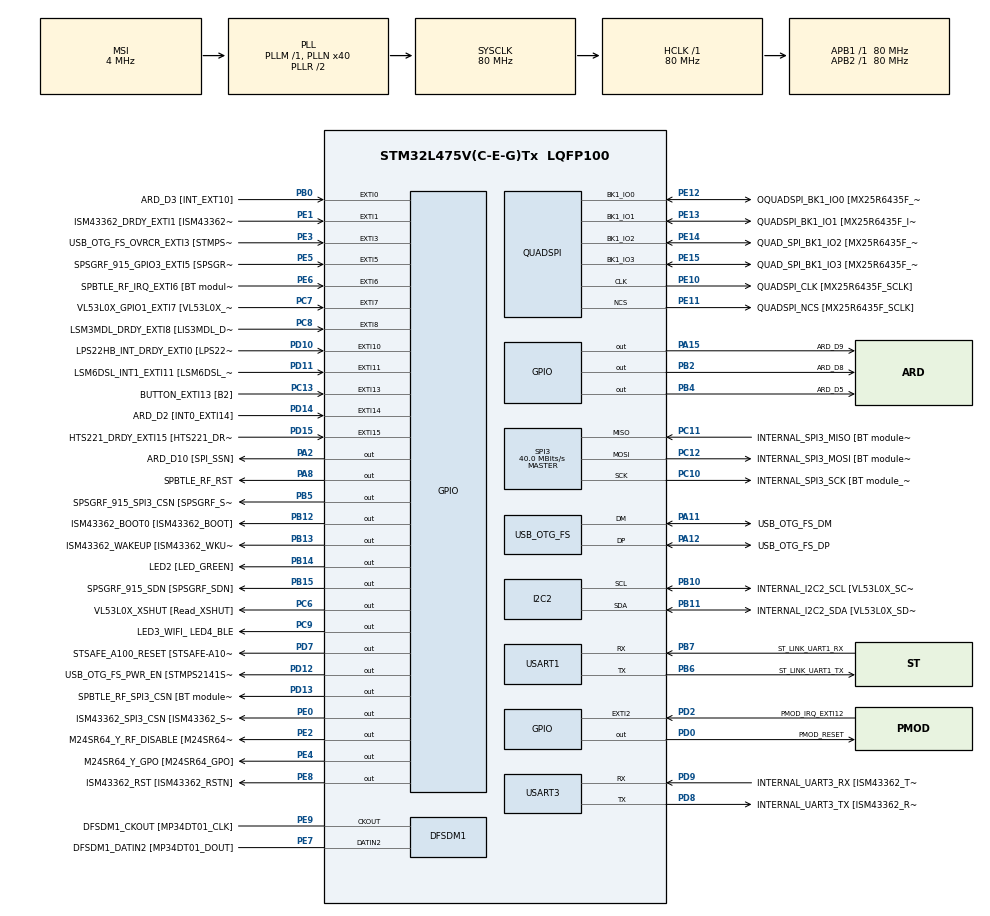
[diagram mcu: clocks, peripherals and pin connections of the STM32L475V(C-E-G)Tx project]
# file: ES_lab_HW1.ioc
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FREERTOS.BinarySemaphores01=BinarySem01,Dynamic,NULL,Depleted;BinarySem02,Dynamic,NULL,Available
FREERTOS.Mutexes01=MutexTask,Dynamic,NULL,Depleted
FREERTOS.Queues01=MessageQueue,1,uint16_t,0,Dynamic,NULL,NULL
FREERTOS.Tasks01=ProcessTask1,24,128,StartProcessTask1,Default,NULL,Dynamic,NULL,NULL;Task1,24,128,StartTask1,Default,NULL,Dynamic,NULL,NULL;Task2,24,128,StartTask2,Default,NULL,Dynamic,NULL,NULL
FREERTOS.Timers01=DefaultTimer,DefaultTimerCallback,osTimerPeriodic,Default,NULL,Dynamic,NULL;ButtonTimer,TimerCallback,osTimerOnce,Default,NULL,Dynamic,NULL
I2C2.Timing=0x10D19CE4
Mcu.Family=STM32L4
Mcu.Name=STM32L475V(C-E-G)Tx
Mcu.Package=LQFP100
NVIC.EXTI15_10_IRQn=true\:5\:0\:false\:false\:true\:true\:true\:true\:true
NVIC.EXTI9_5_IRQn=true\:5\:0\:false\:false\:true\:true\:true\:true\:true
NVIC.PriorityGroup=NVIC_PRIORITYGROUP_4
NVIC.TIM6_DAC_IRQn=true\:5\:0\:false\:false\:true\:true\:true\:true\:true
PA0.GPIO_Label=ARD_D1 [UART4_TX]
PA0.Signal=UART4_TX
PA1.GPIO_Label=ARD_D0 [UART4_RX]
PA1.Signal=UART4_RX
PA10.GPIO_Label=USB_OTG_FS_ID
PA10.Signal=USB_OTG_FS_ID
PA11.GPIO_Label=USB_OTG_FS_DM
PA11.Mode=Device_Only
PA11.Signal=USB_OTG_FS_DM
PA12.GPIO_Label=USB_OTG_FS_DP
PA12.Mode=Device_Only
PA12.Signal=USB_OTG_FS_DP
PA13\ (JTMS-SWDIO).GPIO_Label=SYS_JTMS_SWDIO
PA13\ (JTMS-SWDIO).Mode=Serial_Wire
PA13\ (JTMS-SWDIO).Signal=SYS_JTMS-SWDIO
PA14\ (JTCK-SWCLK).GPIO_Label=SYS_JTCK_SWCLK
PA14\ (JTCK-SWCLK).Mode=Serial_Wire
PA14\ (JTCK-SWCLK).Signal=SYS_JTCK-SWCLK
PA15\ (JTDI).GPIO_Label=ARD_D9
PA15\ (JTDI).Signal=GPIO_Output
PA2.GPIO_Label=ARD_D10 [SPI_SSN]
PA2.Signal=GPIO_Output
PA3.GPIO_Label=ARD_D4
PA3.Signal=S_TIM2_CH4
PA4.GPIO_Label=ARD_D7
PA4.Signal=ADCx_IN9
PA5.GPIO_Label=ARD_D13 [SPI1_SCK]
PA5.Signal=SPI1_SCK
PA6.GPIO_Label=ARD_D12 [SPI1_MISO]
PA6.Signal=SPI1_MISO
PA7.GPIO_Label=ARD_D11 [SPI1_MOSI]
PA7.Signal=SPI1_MOSI
PA8.GPIO_Label=SPBTLE_RF_RST
PA8.Signal=GPIO_Output
PA9.GPIO_Label=USB_OTG_FS_VBUS [STMPS2141STR_OUT]
PA9.Signal=USB_OTG_FS_VBUS
PB0.GPIO_Label=ARD_D3 [INT_EXT10]
PB0.Signal=GPXTI0
PB1.GPIO_Label=ARD_D6 [ADC1_IN6]
PB1.Signal=ADCx_IN16
PB10.GPIO_Label=INTERNAL_I2C2_SCL [VL53L0X_SCL]
PB10.GPIO_Pu=GPIO_PULLUP
PB10.Mode=I2C
PB10.Signal=I2C2_SCL
PB11.GPIO_Label=INTERNAL_I2C2_SDA [VL53L0X_SDA]
PB11.GPIO_Pu=GPIO_PULLUP
PB11.Mode=I2C
PB11.Signal=I2C2_SDA
PB12.GPIO_Label=ISM43362_BOOT0 [ISM43362_BOOT]
PB12.Signal=GPIO_Output
PB13.GPIO_Label=ISM43362_WAKEUP [ISM43362_WKUP]
PB13.Signal=GPIO_Output
PB14.GPIO_Label=LED2 [LED_GREEN]
PB14.Signal=GPIO_Output
PB15.GPIO_Label=SPSGRF_915_SDN [SPSGRF_SDN]
PB15.Signal=GPIO_Output
PB2.GPIO_Label=ARD_D8
PB2.Signal=GPIO_Output
PB3\ (JTDO-TRACESWO).GPIO_Label=SYS_JTD0_SWO
PB3\ (JTDO-TRACESWO).Signal=SYS_JTDO-SWO
PB4\ (NJTRST).GPIO_Label=ARD_D5
PB4\ (NJTRST).Signal=GPIO_Output
PB5.GPIO_Label=SPSGRF_915_SPI3_CSN [SPSGRF_SPI_CS]
PB5.PinState=GPIO_PIN_SET
PB5.Signal=GPIO_Output
PB6.GPIO_Label=ST_LINK_UART1_TX
PB6.Mode=Asynchronous
PB6.Signal=USART1_TX
PB7.GPIO_Label=ST_LINK_UART1_RX
PB7.Mode=Asynchronous
PB7.Signal=USART1_RX
PB8.GPIO_Label=ARD_D15 [I2C1_SCL]
PB8.Signal=I2C1_SCL
PB9.GPIO_Label=ARD_D14 [I2C1_SDA]
PB9.Signal=I2C1_SDA
PC0.GPIO_Label=ARD_A5 [ADC]
PC0.Signal=ADCx_IN1
PC1.GPIO_Label=ARD_A4 [ADC]
PC1.Signal=ADCx_IN2
PC10.GPIO_Label=INTERNAL_SPI3_SCK [BT module_SPI_SCLK] [ISM43362_SCK]
PC10.Mode=Full_Duplex_Master
PC10.Signal=SPI3_SCK
PC11.GPIO_Label=INTERNAL_SPI3_MISO [BT module_SPI_MISO] [ISM43362_MISO]
PC11.Mode=Full_Duplex_Master
PC11.Signal=SPI3_MISO
PC12.GPIO_Label=INTERNAL_SPI3_MOSI [BT module_SPI_MOSI] [ISM43362_MOSI]
PC12.Mode=Full_Duplex_Master
PC12.Signal=SPI3_MOSI
PC13.GPIO_Label=BUTTON_EXTI13 [B2]
PC13.GPIO_ModeDefaultEXTI=GPIO_MODE_IT_RISING_FALLING
PC13.Signal=GPXTI13
PC14-OSC32_IN\ (PC14).Mode=LSE-External-Oscillator
PC14-OSC32_IN\ (PC14).Signal=RCC_OSC32_IN
PC15-OSC32_OUT\ (PC15).Mode=LSE-External-Oscillator
PC15-OSC32_OUT\ (PC15).Signal=RCC_OSC32_OUT
PC2.GPIO_Label=ARD_A3 [ADC]
PC2.Signal=ADCx_IN3
PC3.GPIO_Label=ARD_A2 [ADC]
PC3.Signal=ADCx_IN4
PC4.GPIO_Label=ARD_A1 [ADC]
PC4.Signal=ADCx_IN13
PC5.GPIO_Label=ARD_A0 [ADC]
PC5.Signal=ADCx_IN14
PC6.GPIO_Label=VL53L0X_XSHUT [Read_XSHUT]
PC6.Signal=GPIO_Output
PC7.GPIO_Label=VL53L0X_GPIO1_EXTI7 [VL53L0X_GPIO1]
PC7.Signal=GPXTI7
PC8.GPIO_Label=LSM3MDL_DRDY_EXTI8 [LIS3MDL_DRDY]
PC8.Signal=GPXTI8
PC9.GPIO_Label=LED3_WIFI_ LED4_BLE
PC9.Signal=GPIO_Output
PD0.GPIO_Label=PMOD_RESET
PD0.Signal=GPIO_Output
PD1.GPIO_Label=PMOD_SPI2_SCK
PD1.Signal=SPI2_SCK
PD10.GPIO_Label=LPS22HB_INT_DRDY_EXTI0 [LPS22HB_INT_DRDY] 
PD10.Signal=GPXTI10
PD11.GPIO_Label=LSM6DSL_INT1_EXTI11 [LSM6DSL_INT1]
PD11.Signal=GPXTI11
PD12.GPIO_Label=USB_OTG_FS_PWR_EN [STMPS2141STR_EN]
PD12.Signal=GPIO_Output
PD13.GPIO_Label=SPBTLE_RF_SPI3_CSN [BT module_SPI_CS]
PD13.PinState=GPIO_PIN_SET
PD13.Signal=GPIO_Output
PD14.GPIO_Label=ARD_D2 [INT0_EXTI14]
PD14.Signal=GPXTI14
PD15.GPIO_Label=HTS221_DRDY_EXTI15 [HTS221_DRDY]
PD15.Signal=GPXTI15
PD2.GPIO_Label=PMOD_IRQ_EXTI12
PD2.Signal=GPXTI2
PD3.GPIO_Label=PMOD_UART2_CTS
PD3.Signal=USART2_CTS
PD4.GPIO_Label=PMOD_UART2_RTS
PD4.Signal=USART2_RTS
PD5.GPIO_Label=PMOD_UART2_TX
PD5.Signal=USART2_TX
PD6.GPIO_Label=PMOD_UART2_RX
PD6.Signal=USART2_RX
PD7.GPIO_Label=STSAFE_A100_RESET [STSAFE-A100_RESET]
PD7.Signal=GPIO_Output
PD8.GPIO_Label=INTERNAL_UART3_TX [ISM43362_RX]
PD8.Mode=Asynchronous
PD8.Signal=USART3_TX
PD9.GPIO_Label=INTERNAL_UART3_RX [ISM43362_TX]
PD9.Mode=Asynchronous
PD9.Signal=USART3_RX
PE0.GPIO_Label=ISM43362_SPI3_CSN [ISM43362_SSN]
PE0.PinState=GPIO_PIN_SET
PE0.Signal=GPIO_Output
PE1.GPIO_Label=ISM43362_DRDY_EXTI1 [ISM43362_DATARDY]
PE1.Signal=GPXTI1
PE10.GPIO_Label=QUADSPI_CLK [MX25R6435F_SCLK]
PE10.Mode=Single Bank
PE10.Signal=QUADSPI_CLK
PE11.GPIO_Label=QUADSPI_NCS [MX25R6435F_SCLK]
PE11.Mode=Single Bank
PE11.Signal=QUADSPI_NCS
PE12.GPIO_Label=OQUADSPI_BK1_IO0 [MX25R6435F_IO0]
PE12.Mode=Single Bank
PE12.Signal=QUADSPI_BK1_IO0
PE13.GPIO_Label=QUADSPI_BK1_IO1 [MX25R6435F_IO1]
PE13.Mode=Single Bank
PE13.Signal=QUADSPI_BK1_IO1
PE14.GPIO_Label=QUAD_SPI_BK1_IO2 [MX25R6435F_IO2]
PE14.Mode=Single Bank
PE14.Signal=QUADSPI_BK1_IO2
PE15.GPIO_Label=QUAD_SPI_BK1_IO3 [MX25R6435F_IO3]
PE15.Mode=Single Bank
PE15.Signal=QUADSPI_BK1_IO3
PE2.GPIO_Label=M24SR64_Y_RF_DISABLE [M24SR64_RFDIS]
PE2.Signal=GPIO_Output
PE3.GPIO_Label=USB_OTG_FS_OVRCR_EXTI3 [STMPS2141STR_FAULT]
PE3.Signal=GPXTI3
PE4.GPIO_Label=M24SR64_Y_GPO [M24SR64_GPO]
PE4.Signal=GPIO_Output
PE5.GPIO_Label=SPSGRF_915_GPIO3_EXTI5 [SPSGRF_GPIO_3]
PE5.Signal=GPXTI5
PE6.GPIO_Label=SPBTLE_RF_IRQ_EXTI6 [BT module_SPI_IRQ]
PE6.Signal=GPXTI6
PE7.GPIO_Label=DFSDM1_DATIN2 [MP34DT01_DOUT]
PE7.Signal=S_DATAIN2DFSDM1
PE8.GPIO_Label=ISM43362_RST [ISM43362_RSTN]
PE8.Signal=GPIO_Output
PE9.GPIO_Label=DFSDM1_CKOUT [MP34DT01_CLK]
PE9.Signal=S_CKOUTDFSDM1
ProjectManager.HeapSize=0x200
ProjectManager.StackSize=0x400
ProjectManager.TargetToolchain=STM32CubeIDE
QUADSPI.ClockPrescaler=2
QUADSPI.FifoThreshold=4
QUADSPI.FlashSize=23
QUADSPI.SampleShifting=QSPI_SAMPLE_SHIFTING_HALFCYCLE
RCC.ADCFreq_Value=48000000
RCC.AHBFreq_Value=80000000
RCC.APB1Freq_Value=80000000
RCC.APB1TimFreq_Value=80000000
RCC.APB2Freq_Value=80000000
RCC.APB2TimFreq_Value=80000000
RCC.CortexFreq_Value=80000000
RCC.HCLKFreq_Value=80000000
RCC.HSE_VALUE=8000000
RCC.HSI_VALUE=16000000
RCC.MSI_VALUE=4000000
RCC.PLLN=40
RCC.PLLSAI1N=24
RCC.SYSCLKFreq_VALUE=80000000
RCC.SYSCLKSource=RCC_SYSCLKSOURCE_PLLCLK
RCC.USBFreq_Value=48000000
RCC.VCOOutputFreq_Value=160000000
SH.ADCx_IN1.0=ADC1_IN1
SH.ADCx_IN13.0=ADC1_IN13
SH.ADCx_IN14.0=ADC1_IN14
SH.ADCx_IN16.0=ADC1_IN16
SH.ADCx_IN2.0=ADC1_IN2
SH.ADCx_IN3.0=ADC1_IN3
SH.ADCx_IN4.0=ADC1_IN4
SH.ADCx_IN9.0=ADC1_IN9
SH.S_CKOUTDFSDM1.0=DFSDM1_CKOUT,CKOUT
SH.S_CKOUTDFSDM1.1=DFSDM1_CKOUT,PDM_SPI_Input_from_ch12_and_Internal_Clock
SH.S_DATAIN2DFSDM1.0=DFSDM1_DATIN2,PDM_SPI_Input_from_ch12_and_Internal_Clock
SH.S_TIM2_CH4.0=TIM2_CH4
SPI3.CalculateBaudRate=40.0 MBits/s
SPI3.Direction=SPI_DIRECTION_2LINES
SPI3.Mode=SPI_MODE_MASTER
SPI3.VirtualType=VM_MASTER
TIM6.AutoReloadPreload=TIM_AUTORELOAD_PRELOAD_ENABLE
TIM6.Period=4000
TIM6.Prescaler=20000
USART1.VirtualMode-Asynchronous=VM_ASYNC
USART3.VirtualMode-Asynchronous=VM_ASYNC
USB_OTG_FS.VirtualMode=Device_Only
VP_FREERTOS_VS_CMSIS_V2.Mode=CMSIS_V2
VP_TIM6_VS_ClockSourceINT.Mode=Enable_Timer
board=B-L475E-IOT01A2

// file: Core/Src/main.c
/* USER CODE BEGIN Header */
/**
  ******************************************************************************
  * @file           : main.c
  * @brief          : Main program body
  ******************************************************************************
  * @attention
  *
  * Copyright (c) 2024 STMicroelectronics.
  * All rights reserved.
  *
  * This software is licensed under terms that can be found in the LICENSE file
  * in the root directory of this software component.
  * If no LICENSE file comes with this software, it is provided AS-IS.
  *
  ******************************************************************************
  */
/* USER CODE END Header */
#include "main.h"
#include "cmsis_os.h"

DFSDM_Channel_HandleTypeDef hdfsdm1_channel1;

I2C_HandleTypeDef hi2c2;

QSPI_HandleTypeDef hqspi;

SPI_HandleTypeDef hspi3;

TIM_HandleTypeDef htim6;

UART_HandleTypeDef huart1;
UART_HandleTypeDef huart3;

PCD_HandleTypeDef hpcd_USB_OTG_FS;

/* Definitions for ProcessTask1 */
osThreadId_t ProcessTask1Handle;
const osThreadAttr_t ProcessTask1_attributes = {
  .name = "ProcessTask1",
  .stack_size = 128 * 4,
  .priority = (osPriority_t) osPriorityNormal,
};
/* Definitions for Task1 */
osThreadId_t Task1Handle;
const osThreadAttr_t Task1_attributes = {
  .name = "Task1",
  .stack_size = 128 * 4,
  .priority = (osPriority_t) osPriorityNormal,
};
/* Definitions for Task2 */
osThreadId_t Task2Handle;
const osThreadAttr_t Task2_attributes = {
  .name = "Task2",
  .stack_size = 128 * 4,
  .priority = (osPriority_t) osPriorityNormal,
};
/* Definitions for MessageQueue */
osMessageQueueId_t MessageQueueHandle;
const osMessageQueueAttr_t MessageQueue_attributes = {
  .name = "MessageQueue"
};
/* Definitions for DefaultTimer */
osTimerId_t DefaultTimerHandle;
const osTimerAttr_t DefaultTimer_attributes = {
  .name = "DefaultTimer"
};
/* Definitions for ButtonTimer */
osTimerId_t ButtonTimerHandle;
const osTimerAttr_t ButtonTimer_attributes = {
  .name = "ButtonTimer"
};
/* Definitions for MutexTask */
osMutexId_t MutexTaskHandle;
const osMutexAttr_t MutexTask_attributes = {
  .name = "MutexTask"
};
/* Definitions for BinarySem01 */
osSemaphoreId_t BinarySem01Handle;
const osSemaphoreAttr_t BinarySem01_attributes = {
  .name = "BinarySem01"
};
/* Definitions for BinarySem02 */
osSemaphoreId_t BinarySem02Handle;
const osSemaphoreAttr_t BinarySem02_attributes = {
  .name = "BinarySem02"
};

void SystemClock_Config(void);
static void MX_GPIO_Init(void);
static void MX_DFSDM1_Init(void);
static void MX_I2C2_Init(void);
static void MX_QUADSPI_Init(void);
static void MX_SPI3_Init(void);
static void MX_USART1_UART_Init(void);
static void MX_USART3_UART_Init(void);
static void MX_USB_OTG_FS_PCD_Init(void);
static void MX_TIM6_Init(void);
void StartProcessTask1(void *argument);
void StartTask1(void *argument);
void StartTask2(void *argument);
void DefaultTimerCallback(void *argument);
void TimerCallback(void *argument);

int main(void)
{

  /* MCU Configuration--------------------------------------------------------*/

  /* Reset of all peripherals, Initializes the Flash interface and the Systick. */
  HAL_Init();

  /* Configure the system clock */
  SystemClock_Config();

  /* Initialize all configured peripherals */
  MX_GPIO_Init();
  MX_DFSDM1_Init();
  MX_I2C2_Init();
  MX_QUADSPI_Init();
  MX_SPI3_Init();
  MX_USART1_UART_Init();
  MX_USART3_UART_Init();
  MX_USB_OTG_FS_PCD_Init();
  MX_TIM6_Init();

  /* Init scheduler */
  osKernelInitialize();
  /* Create the mutex(es) */
  /* creation of MutexTask */
  MutexTaskHandle = osMutexNew(&MutexTask_attributes);

  /* Create the semaphores(s) */
  /* creation of BinarySem01 */
  BinarySem01Handle = osSemaphoreNew(1, 0, &BinarySem01_attributes);

  /* creation of BinarySem02 */
  BinarySem02Handle = osSemaphoreNew(1, 1, &BinarySem02_attributes);

  /* Create the timer(s) */
  /* creation of DefaultTimer */
  DefaultTimerHandle = osTimerNew(DefaultTimerCallback, osTimerPeriodic, NULL, &DefaultTimer_attributes);

  /* creation of ButtonTimer */
  ButtonTimerHandle = osTimerNew(TimerCallback, osTimerOnce, NULL, &ButtonTimer_attributes);

  /* USER CODE BEGIN RTOS_TIMERS */
  /* start timers, add new ones, ... */
  osTimerStart(DefaultTimerHandle, 10000U);
//  osTimerDelete(myTimer01Handle);
  /* USER CODE END RTOS_TIMERS */

  /* Create the queue(s) */
  /* creation of MessageQueue */
  MessageQueueHandle = osMessageQueueNew (1, sizeof(uint16_t), &MessageQueue_attributes);

  /* Create the thread(s) */
  /* creation of ProcessTask1 */
  ProcessTask1Handle = osThreadNew(StartProcessTask1, NULL, &ProcessTask1_attributes);

  /* creation of Task1 */
  Task1Handle = osThreadNew(StartTask1, NULL, &Task1_attributes);

  /* creation of Task2 */
  Task2Handle = osThreadNew(StartTask2, NULL, &Task2_attributes);

  /* Start scheduler */
  osKernelStart();

  /* We should never get here as control is now taken by the scheduler */

  /* Infinite loop */
  while (1)
  {

  }
}

void SystemClock_Config(void)
{
  RCC_OscInitTypeDef RCC_OscInitStruct = {0};
  RCC_ClkInitTypeDef RCC_ClkInitStruct = {0};

  /** Configure the main internal regulator output voltage
  */
  if (HAL_PWREx_ControlVoltageScaling(PWR_REGULATOR_VOLTAGE_SCALE1) != HAL_OK)
  {
    Error_Handler();
  }

  /** Configure LSE Drive Capability
  */
  HAL_PWR_EnableBkUpAccess();
  __HAL_RCC_LSEDRIVE_CONFIG(RCC_LSEDRIVE_LOW);

  /** Initializes the RCC Oscillators according to the specified parameters
  * in the RCC_OscInitTypeDef structure.
  */
  RCC_OscInitStruct.OscillatorType = RCC_OSCILLATORTYPE_LSE|RCC_OSCILLATORTYPE_MSI;
  RCC_OscInitStruct.LSEState = RCC_LSE_ON;
  RCC_OscInitStruct.MSIState = RCC_MSI_ON;
  RCC_OscInitStruct.MSICalibrationValue = 0;
  RCC_OscInitStruct.MSIClockRange = RCC_MSIRANGE_6;
  RCC_OscInitStruct.PLL.PLLState = RCC_PLL_ON;
  RCC_OscInitStruct.PLL.PLLSource = RCC_PLLSOURCE_MSI;
  RCC_OscInitStruct.PLL.PLLM = 1;
  RCC_OscInitStruct.PLL.PLLN = 40;
  RCC_OscInitStruct.PLL.PLLP = RCC_PLLP_DIV7;
  RCC_OscInitStruct.PLL.PLLQ = RCC_PLLQ_DIV2;
  RCC_OscInitStruct.PLL.PLLR = RCC_PLLR_DIV2;
  if (HAL_RCC_OscConfig(&RCC_OscInitStruct) != HAL_OK)
  {
    Error_Handler();
  }

  /** Initializes the CPU, AHB and APB buses clocks
  */
  RCC_ClkInitStruct.ClockType = RCC_CLOCKTYPE_HCLK|RCC_CLOCKTYPE_SYSCLK
                              |RCC_CLOCKTYPE_PCLK1|RCC_CLOCKTYPE_PCLK2;
  RCC_ClkInitStruct.SYSCLKSource = RCC_SYSCLKSOURCE_PLLCLK;
  RCC_ClkInitStruct.AHBCLKDivider = RCC_SYSCLK_DIV1;
  RCC_ClkInitStruct.APB1CLKDivider = RCC_HCLK_DIV1;
  RCC_ClkInitStruct.APB2CLKDivider = RCC_HCLK_DIV1;

  if (HAL_RCC_ClockConfig(&RCC_ClkInitStruct, FLASH_LATENCY_4) != HAL_OK)
  {
    Error_Handler();
  }

  /** Enable MSI Auto calibration
  */
  HAL_RCCEx_EnableMSIPLLMode();
}

static void MX_DFSDM1_Init(void)
{

  hdfsdm1_channel1.Instance = DFSDM1_Channel1;
  hdfsdm1_channel1.Init.OutputClock.Activation = ENABLE;
  hdfsdm1_channel1.Init.OutputClock.Selection = DFSDM_CHANNEL_OUTPUT_CLOCK_SYSTEM;
  hdfsdm1_channel1.Init.OutputClock.Divider = 2;
  hdfsdm1_channel1.Init.Input.Multiplexer = DFSDM_CHANNEL_EXTERNAL_INPUTS;
  hdfsdm1_channel1.Init.Input.DataPacking = DFSDM_CHANNEL_STANDARD_MODE;
  hdfsdm1_channel1.Init.Input.Pins = DFSDM_CHANNEL_FOLLOWING_CHANNEL_PINS;
  hdfsdm1_channel1.Init.SerialInterface.Type = DFSDM_CHANNEL_SPI_RISING;
  hdfsdm1_channel1.Init.SerialInterface.SpiClock = DFSDM_CHANNEL_SPI_CLOCK_INTERNAL;
  hdfsdm1_channel1.Init.Awd.FilterOrder = DFSDM_CHANNEL_FASTSINC_ORDER;
  hdfsdm1_channel1.Init.Awd.Oversampling = 1;
  hdfsdm1_channel1.Init.Offset = 0;
  hdfsdm1_channel1.Init.RightBitShift = 0x00;
  if (HAL_DFSDM_ChannelInit(&hdfsdm1_channel1) != HAL_OK)
  {
    Error_Handler();
  }

}

static void MX_I2C2_Init(void)
{

  hi2c2.Instance = I2C2;
  hi2c2.Init.Timing = 0x10D19CE4;
  hi2c2.Init.OwnAddress1 = 0;
  hi2c2.Init.AddressingMode = I2C_ADDRESSINGMODE_7BIT;
  hi2c2.Init.DualAddressMode = I2C_DUALADDRESS_DISABLE;
  hi2c2.Init.OwnAddress2 = 0;
  hi2c2.Init.OwnAddress2Masks = I2C_OA2_NOMASK;
  hi2c2.Init.GeneralCallMode = I2C_GENERALCALL_DISABLE;
  hi2c2.Init.NoStretchMode = I2C_NOSTRETCH_DISABLE;
  if (HAL_I2C_Init(&hi2c2) != HAL_OK)
  {
    Error_Handler();
  }

  /** Configure Analogue filter
  */
  if (HAL_I2CEx_ConfigAnalogFilter(&hi2c2, I2C_ANALOGFILTER_ENABLE) != HAL_OK)
  {
    Error_Handler();
  }

  /** Configure Digital filter
  */
  if (HAL_I2CEx_ConfigDigitalFilter(&hi2c2, 0) != HAL_OK)
  {
    Error_Handler();
  }

}

static void MX_QUADSPI_Init(void)
{

  /* QUADSPI parameter configuration*/
  hqspi.Instance = QUADSPI;
  hqspi.Init.ClockPrescaler = 2;
  hqspi.Init.FifoThreshold = 4;
  hqspi.Init.SampleShifting = QSPI_SAMPLE_SHIFTING_HALFCYCLE;
  hqspi.Init.FlashSize = 23;
  hqspi.Init.ChipSelectHighTime = QSPI_CS_HIGH_TIME_1_CYCLE;
  hqspi.Init.ClockMode = QSPI_CLOCK_MODE_0;
  if (HAL_QSPI_Init(&hqspi) != HAL_OK)
  {
    Error_Handler();
  }

}

static void MX_SPI3_Init(void)
{

  /* SPI3 parameter configuration*/
  hspi3.Instance = SPI3;
  hspi3.Init.Mode = SPI_MODE_MASTER;
  hspi3.Init.Direction = SPI_DIRECTION_2LINES;
  hspi3.Init.DataSize = SPI_DATASIZE_4BIT;
  hspi3.Init.CLKPolarity = SPI_POLARITY_LOW;
  hspi3.Init.CLKPhase = SPI_PHASE_1EDGE;
  hspi3.Init.NSS = SPI_NSS_SOFT;
  hspi3.Init.BaudRatePrescaler = SPI_BAUDRATEPRESCALER_2;
  hspi3.Init.FirstBit = SPI_FIRSTBIT_MSB;
  hspi3.Init.TIMode = SPI_TIMODE_DISABLE;
  hspi3.Init.CRCCalculation = SPI_CRCCALCULATION_DISABLE;
  hspi3.Init.CRCPolynomial = 7;
  hspi3.Init.CRCLength = SPI_CRC_LENGTH_DATASIZE;
  hspi3.Init.NSSPMode = SPI_NSS_PULSE_ENABLE;
  if (HAL_SPI_Init(&hspi3) != HAL_OK)
  {
    Error_Handler();
  }

}

static void MX_TIM6_Init(void)
{

  TIM_MasterConfigTypeDef sMasterConfig = {0};

  htim6.Instance = TIM6;
  htim6.Init.Prescaler = 20000;
  htim6.Init.CounterMode = TIM_COUNTERMODE_UP;
  htim6.Init.Period = 4000;
  htim6.Init.AutoReloadPreload = TIM_AUTORELOAD_PRELOAD_ENABLE;
  if (HAL_TIM_Base_Init(&htim6) != HAL_OK)
  {
    Error_Handler();
  }
  sMasterConfig.MasterOutputTrigger = TIM_TRGO_RESET;
  sMasterConfig.MasterSlaveMode = TIM_MASTERSLAVEMODE_DISABLE;
  if (HAL_TIMEx_MasterConfigSynchronization(&htim6, &sMasterConfig) != HAL_OK)
  {
    Error_Handler();
  }

}

static void MX_USART1_UART_Init(void)
{

  huart1.Instance = USART1;
  huart1.Init.BaudRate = 115200;
  huart1.Init.WordLength = UART_WORDLENGTH_8B;
  huart1.Init.StopBits = UART_STOPBITS_1;
  huart1.Init.Parity = UART_PARITY_NONE;
  huart1.Init.Mode = UART_MODE_TX_RX;
  huart1.Init.HwFlowCtl = UART_HWCONTROL_NONE;
  huart1.Init.OverSampling = UART_OVERSAMPLING_16;
  huart1.Init.OneBitSampling = UART_ONE_BIT_SAMPLE_DISABLE;
  huart1.AdvancedInit.AdvFeatureInit = UART_ADVFEATURE_NO_INIT;
  if (HAL_UART_Init(&huart1) != HAL_OK)
  {
    Error_Handler();
  }

}

static void MX_USART3_UART_Init(void)
{

  huart3.Instance = USART3;
  huart3.Init.BaudRate = 115200;
  huart3.Init.WordLength = UART_WORDLENGTH_8B;
  huart3.Init.StopBits = UART_STOPBITS_1;
  huart3.Init.Parity = UART_PARITY_NONE;
  huart3.Init.Mode = UART_MODE_TX_RX;
  huart3.Init.HwFlowCtl = UART_HWCONTROL_NONE;
  huart3.Init.OverSampling = UART_OVERSAMPLING_16;
  huart3.Init.OneBitSampling = UART_ONE_BIT_SAMPLE_DISABLE;
  huart3.AdvancedInit.AdvFeatureInit = UART_ADVFEATURE_NO_INIT;
  if (HAL_UART_Init(&huart3) != HAL_OK)
  {
    Error_Handler();
  }

}

static void MX_USB_OTG_FS_PCD_Init(void)
{

  hpcd_USB_OTG_FS.Instance = USB_OTG_FS;
  hpcd_USB_OTG_FS.Init.dev_endpoints = 6;
  hpcd_USB_OTG_FS.Init.speed = PCD_SPEED_FULL;
  hpcd_USB_OTG_FS.Init.phy_itface = PCD_PHY_EMBEDDED;
  hpcd_USB_OTG_FS.Init.Sof_enable = DISABLE;
  hpcd_USB_OTG_FS.Init.low_power_enable = DISABLE;
  hpcd_USB_OTG_FS.Init.lpm_enable = DISABLE;
  hpcd_USB_OTG_FS.Init.battery_charging_enable = DISABLE;
  hpcd_USB_OTG_FS.Init.use_dedicated_ep1 = DISABLE;
  hpcd_USB_OTG_FS.Init.vbus_sensing_enable = DISABLE;
  if (HAL_PCD_Init(&hpcd_USB_OTG_FS) != HAL_OK)
  {
    Error_Handler();
  }

}

static void MX_GPIO_Init(void)
{
  GPIO_InitTypeDef GPIO_InitStruct = {0};

  /* GPIO Ports Clock Enable */
  __HAL_RCC_GPIOE_CLK_ENABLE();
  __HAL_RCC_GPIOC_CLK_ENABLE();
  __HAL_RCC_GPIOA_CLK_ENABLE();
  __HAL_RCC_GPIOB_CLK_ENABLE();
  __HAL_RCC_GPIOD_CLK_ENABLE();

  /*Configure GPIO pin Output Level */
  HAL_GPIO_WritePin(GPIOE, M24SR64_Y_RF_DISABLE_Pin|M24SR64_Y_GPO_Pin|ISM43362_RST_Pin, GPIO_PIN_RESET);

  /*Configure GPIO pin Output Level */
  HAL_GPIO_WritePin(GPIOA, ARD_D10_Pin|SPBTLE_RF_RST_Pin|ARD_D9_Pin, GPIO_PIN_RESET);

  /*Configure GPIO pin Output Level */
  HAL_GPIO_WritePin(GPIOB, ARD_D8_Pin|ISM43362_BOOT0_Pin|ISM43362_WAKEUP_Pin|LED2_Pin
                          |SPSGRF_915_SDN_Pin|ARD_D5_Pin, GPIO_PIN_RESET);

  /*Configure GPIO pin Output Level */
  HAL_GPIO_WritePin(GPIOD, USB_OTG_FS_PWR_EN_Pin|PMOD_RESET_Pin|STSAFE_A100_RESET_Pin, GPIO_PIN_RESET);

  /*Configure GPIO pin Output Level */
  HAL_GPIO_WritePin(SPBTLE_RF_SPI3_CSN_GPIO_Port, SPBTLE_RF_SPI3_CSN_Pin, GPIO_PIN_SET);

  /*Configure GPIO pin Output Level */
  HAL_GPIO_WritePin(GPIOC, VL53L0X_XSHUT_Pin|LED3_WIFI__LED4_BLE_Pin, GPIO_PIN_RESET);

  /*Configure GPIO pin Output Level */
  HAL_GPIO_WritePin(SPSGRF_915_SPI3_CSN_GPIO_Port, SPSGRF_915_SPI3_CSN_Pin, GPIO_PIN_SET);

  /*Configure GPIO pin Output Level */
  HAL_GPIO_WritePin(ISM43362_SPI3_CSN_GPIO_Port, ISM43362_SPI3_CSN_Pin, GPIO_PIN_SET);

  /*Configure GPIO pins : M24SR64_Y_RF_DISABLE_Pin M24SR64_Y_GPO_Pin ISM43362_RST_Pin ISM43362_SPI3_CSN_Pin */
  GPIO_InitStruct.Pin = M24SR64_Y_RF_DISABLE_Pin|M24SR64_Y_GPO_Pin|ISM43362_RST_Pin|ISM43362_SPI3_CSN_Pin;
  GPIO_InitStruct.Mode = GPIO_MODE_OUTPUT_PP;
  GPIO_InitStruct.Pull = GPIO_NOPULL;
  GPIO_InitStruct.Speed = GPIO_SPEED_FREQ_LOW;
  HAL_GPIO_Init(GPIOE, &GPIO_InitStruct);

  /*Configure GPIO pins : USB_OTG_FS_OVRCR_EXTI3_Pin SPSGRF_915_GPIO3_EXTI5_Pin SPBTLE_RF_IRQ_EXTI6_Pin ISM43362_DRDY_EXTI1_Pin */
  GPIO_InitStruct.Pin = USB_OTG_FS_OVRCR_EXTI3_Pin|SPSGRF_915_GPIO3_EXTI5_Pin|SPBTLE_RF_IRQ_EXTI6_Pin|ISM43362_DRDY_EXTI1_Pin;
  GPIO_InitStruct.Mode = GPIO_MODE_IT_RISING;
  GPIO_InitStruct.Pull = GPIO_NOPULL;
  HAL_GPIO_Init(GPIOE, &GPIO_InitStruct);

  /*Configure GPIO pin : BUTTON_EXTI13_Pin */
  GPIO_InitStruct.Pin = BUTTON_EXTI13_Pin;
  GPIO_InitStruct.Mode = GPIO_MODE_IT_RISING_FALLING;
  GPIO_InitStruct.Pull = GPIO_NOPULL;
  HAL_GPIO_Init(BUTTON_EXTI13_GPIO_Port, &GPIO_InitStruct);

  /*Configure GPIO pins : ARD_A5_Pin ARD_A4_Pin ARD_A3_Pin ARD_A2_Pin
                           ARD_A1_Pin ARD_A0_Pin */
  GPIO_InitStruct.Pin = ARD_A5_Pin|ARD_A4_Pin|ARD_A3_Pin|ARD_A2_Pin
                          |ARD_A1_Pin|ARD_A0_Pin;
  GPIO_InitStruct.Mode = GPIO_MODE_ANALOG_ADC_CONTROL;
  GPIO_InitStruct.Pull = GPIO_NOPULL;
  HAL_GPIO_Init(GPIOC, &GPIO_InitStruct);

  /*Configure GPIO pins : ARD_D1_Pin ARD_D0_Pin */
  GPIO_InitStruct.Pin = ARD_D1_Pin|ARD_D0_Pin;
  GPIO_InitStruct.Mode = GPIO_MODE_AF_PP;
  GPIO_InitStruct.Pull = GPIO_NOPULL;
  GPIO_InitStruct.Speed = GPIO_SPEED_FREQ_VERY_HIGH;
  GPIO_InitStruct.Alternate = GPIO_AF8_UART4;
  HAL_GPIO_Init(GPIOA, &GPIO_InitStruct);

  /*Configure GPIO pins : ARD_D10_Pin SPBTLE_RF_RST_Pin ARD_D9_Pin */
  GPIO_InitStruct.Pin = ARD_D10_Pin|SPBTLE_RF_RST_Pin|ARD_D9_Pin;
  GPIO_InitStruct.Mode = GPIO_MODE_OUTPUT_PP;
  GPIO_InitStruct.Pull = GPIO_NOPULL;
  GPIO_InitStruct.Speed = GPIO_SPEED_FREQ_LOW;
  HAL_GPIO_Init(GPIOA, &GPIO_InitStruct);

  /*Configure GPIO pin : ARD_D4_Pin */
  GPIO_InitStruct.Pin = ARD_D4_Pin;
  GPIO_InitStruct.Mode = GPIO_MODE_AF_PP;
  GPIO_InitStruct.Pull = GPIO_NOPULL;
  GPIO_InitStruct.Speed = GPIO_SPEED_FREQ_LOW;
  GPIO_InitStruct.Alternate = GPIO_AF1_TIM2;
  HAL_GPIO_Init(ARD_D4_GPIO_Port, &GPIO_InitStruct);

  /*Configure GPIO pin : ARD_D7_Pin */
  GPIO_InitStruct.Pin = ARD_D7_Pin;
  GPIO_InitStruct.Mode = GPIO_MODE_ANALOG_ADC_CONTROL;
  GPIO_InitStruct.Pull = GPIO_NOPULL;
  HAL_GPIO_Init(ARD_D7_GPIO_Port, &GPIO_InitStruct);

  /*Configure GPIO pins : ARD_D13_Pin ARD_D12_Pin ARD_D11_Pin */
  GPIO_InitStruct.Pin = ARD_D13_Pin|ARD_D12_Pin|ARD_D11_Pin;
  GPIO_InitStruct.Mode = GPIO_MODE_AF_PP;
  GPIO_InitStruct.Pull = GPIO_NOPULL;
  GPIO_InitStruct.Speed = GPIO_SPEED_FREQ_VERY_HIGH;
  GPIO_InitStruct.Alternate = GPIO_AF5_SPI1;
  HAL_GPIO_Init(GPIOA, &GPIO_InitStruct);

  /*Configure GPIO pin : ARD_D3_Pin */
  GPIO_InitStruct.Pin = ARD_D3_Pin;
  GPIO_InitStruct.Mode = GPIO_MODE_IT_RISING;
  GPIO_InitStruct.Pull = GPIO_NOPULL;
  HAL_GPIO_Init(ARD_D3_GPIO_Port, &GPIO_InitStruct);

  /*Configure GPIO pin : ARD_D6_Pin */
  GPIO_InitStruct.Pin = ARD_D6_Pin;
  GPIO_InitStruct.Mode = GPIO_MODE_ANALOG_ADC_CONTROL;
  GPIO_InitStruct.Pull = GPIO_NOPULL;
  HAL_GPIO_Init(ARD_D6_GPIO_Port, &GPIO_InitStruct);

  /*Configure GPIO pins : ARD_D8_Pin ISM43362_BOOT0_Pin ISM43362_WAKEUP_Pin LED2_Pin
                           SPSGRF_915_SDN_Pin ARD_D5_Pin SPSGRF_915_SPI3_CSN_Pin */
  GPIO_InitStruct.Pin = ARD_D8_Pin|ISM43362_BOOT0_Pin|ISM43362_WAKEUP_Pin|LED2_Pin
                          |SPSGRF_915_SDN_Pin|ARD_D5_Pin|SPSGRF_915_SPI3_CSN_Pin;
  GPIO_InitStruct.Mode = GPIO_MODE_OUTPUT_PP;
  GPIO_InitStruct.Pull = GPIO_NOPULL;
  GPIO_InitStruct.Speed = GPIO_SPEED_FREQ_LOW;
  HAL_GPIO_Init(GPIOB, &GPIO_InitStruct);

  /*Configure GPIO pins : LPS22HB_INT_DRDY_EXTI0_Pin LSM6DSL_INT1_EXTI11_Pin ARD_D2_Pin HTS221_DRDY_EXTI15_Pin
                           PMOD_IRQ_EXTI12_Pin */
  GPIO_InitStruct.Pin = LPS22HB_INT_DRDY_EXTI0_Pin|LSM6DSL_INT1_EXTI11_Pin|ARD_D2_Pin|HTS221_DRDY_EXTI15_Pin
                          |PMOD_IRQ_EXTI12_Pin;
  GPIO_InitStruct.Mode = GPIO_MODE_IT_RISING;
  GPIO_InitStruct.Pull = GPIO_NOPULL;
  HAL_GPIO_Init(GPIOD, &GPIO_InitStruct);

  /*Configure GPIO pins : USB_OTG_FS_PWR_EN_Pin SPBTLE_RF_SPI3_CSN_Pin PMOD_RESET_Pin STSAFE_A100_RESET_Pin */
  GPIO_InitStruct.Pin = USB_OTG_FS_PWR_EN_Pin|SPBTLE_RF_SPI3_CSN_Pin|PMOD_RESET_Pin|STSAFE_A100_RESET_Pin;
  GPIO_InitStruct.Mode = GPIO_MODE_OUTPUT_PP;
  GPIO_InitStruct.Pull = GPIO_NOPULL;
  GPIO_InitStruct.Speed = GPIO_SPEED_FREQ_LOW;
  HAL_GPIO_Init(GPIOD, &GPIO_InitStruct);

  /*Configure GPIO pins : VL53L0X_XSHUT_Pin LED3_WIFI__LED4_BLE_Pin */
  GPIO_InitStruct.Pin = VL53L0X_XSHUT_Pin|LED3_WIFI__LED4_BLE_Pin;
  GPIO_InitStruct.Mode = GPIO_MODE_OUTPUT_PP;
  GPIO_InitStruct.Pull = GPIO_NOPULL;
  GPIO_InitStruct.Speed = GPIO_SPEED_FREQ_LOW;
  HAL_GPIO_Init(GPIOC, &GPIO_InitStruct);

  /*Configure GPIO pins : VL53L0X_GPIO1_EXTI7_Pin LSM3MDL_DRDY_EXTI8_Pin */
  GPIO_InitStruct.Pin = VL53L0X_GPIO1_EXTI7_Pin|LSM3MDL_DRDY_EXTI8_Pin;
  GPIO_InitStruct.Mode = GPIO_MODE_IT_RISING;
  GPIO_InitStruct.Pull = GPIO_NOPULL;
  HAL_GPIO_Init(GPIOC, &GPIO_InitStruct);

  /*Configure GPIO pin : PMOD_SPI2_SCK_Pin */
  GPIO_InitStruct.Pin = PMOD_SPI2_SCK_Pin;
  GPIO_InitStruct.Mode = GPIO_MODE_AF_PP;
  GPIO_InitStruct.Pull = GPIO_NOPULL;
  GPIO_InitStruct.Speed = GPIO_SPEED_FREQ_VERY_HIGH;
  GPIO_InitStruct.Alternate = GPIO_AF5_SPI2;
  HAL_GPIO_Init(PMOD_SPI2_SCK_GPIO_Port, &GPIO_InitStruct);

  /*Configure GPIO pins : PMOD_UART2_CTS_Pin PMOD_UART2_RTS_Pin PMOD_UART2_TX_Pin PMOD_UART2_RX_Pin */
  GPIO_InitStruct.Pin = PMOD_UART2_CTS_Pin|PMOD_UART2_RTS_Pin|PMOD_UART2_TX_Pin|PMOD_UART2_RX_Pin;
  GPIO_InitStruct.Mode = GPIO_MODE_AF_PP;
  GPIO_InitStruct.Pull = GPIO_NOPULL;
  GPIO_InitStruct.Speed = GPIO_SPEED_FREQ_VERY_HIGH;
  GPIO_InitStruct.Alternate = GPIO_AF7_USART2;
  HAL_GPIO_Init(GPIOD, &GPIO_InitStruct);

  /*Configure GPIO pins : ARD_D15_Pin ARD_D14_Pin */
  GPIO_InitStruct.Pin = ARD_D15_Pin|ARD_D14_Pin;
  GPIO_InitStruct.Mode = GPIO_MODE_AF_OD;
  GPIO_InitStruct.Pull = GPIO_NOPULL;
  GPIO_InitStruct.Speed = GPIO_SPEED_FREQ_VERY_HIGH;
  GPIO_InitStruct.Alternate = GPIO_AF4_I2C1;
  HAL_GPIO_Init(GPIOB, &GPIO_InitStruct);

  /* EXTI interrupt init*/
  HAL_NVIC_SetPriority(EXTI9_5_IRQn, 5, 0);
  HAL_NVIC_EnableIRQ(EXTI9_5_IRQn);

  HAL_NVIC_SetPriority(EXTI15_10_IRQn, 5, 0);
  HAL_NVIC_EnableIRQ(EXTI15_10_IRQn);

}

/* USER CODE BEGIN 4 */
void HAL_GPIO_EXTI_Callback(uint16_t GPIO_Pin)
{
	switch(GPIO_Pin)
	{
	case BUTTON_EXTI13_Pin:
//		osSemaphoreRelease(myBinarySem01Handle);
		// falling
		if (HAL_GPIO_ReadPin(GPIOC, BUTTON_EXTI13_Pin) == GPIO_PIN_RESET)
		{
			osThreadFlagsSet(ProcessTask1Handle, 0x01);
		}
		// rising
		else
		{
			osThreadFlagsSet(ProcessTask1Handle, 0x02);
		}
		break;
	default:
		break;
	}
}
/* USER CODE END 4 */

void StartProcessTask1(void *argument)
{
  /* USER CODE BEGIN 5 */
  /* Infinite loop */
  uint16_t msg;
  for(;;)
  {
	  osThreadFlagsWait(0x01, osFlagsWaitAny, osWaitForever);
	  osTimerStart(ButtonTimerHandle, 1000U);
	  osThreadFlagsWait(0x06, osFlagsWaitAny | osFlagsNoClear, osWaitForever);
	  uint32_t cur_flags = osThreadFlagsClear(0x06);
	  if (cur_flags == 0x02)
	  {
		  // not exceed 1s
		  osTimerStop(ButtonTimerHandle);
		  msg = 0;
		  osMessageQueuePut(MessageQueueHandle, &msg, 0, 0);
	  }
	  else
	  {
		  // exceed 1s
		  msg = 1;
		  osMessageQueuePut(MessageQueueHandle, &msg, 0, 0);
//		  osThreadFlagsWait(0x02, osFlagsWaitAny, osWaitForever);
	  }
  }
  /* USER CODE END 5 */
}

void StartTask1(void *argument)
{
  /* USER CODE BEGIN StartTask1 */
  /* Infinite loop */
  uint16_t msg;
  for(;;)
  {
	osMessageQueueGet(MessageQueueHandle, &msg, NULL, osWaitForever);
//	osSemaphoreAcquire(myBinarySem01Handle, osWaitForever);
	osMutexAcquire(MutexTaskHandle, osWaitForever);
	if (msg == 0)
	{
		// not exceed 1s
		int i=0;
		for (i=0;i<5;i++)
		{
			int j=0;
			for (j=0;j<2;j++)
			{
				HAL_GPIO_TogglePin(GPIOB, LED2_Pin);
				HAL_Delay(500);
			}
		}
	}
	else if (msg == 1)
	{
		// not exceed 1s
		int i=0;
		for (i=0;i<5;i++)
		{
			int j=0;
			for (j=0;j<20;j++)
			{
				HAL_GPIO_TogglePin(GPIOB, LED2_Pin);
				HAL_Delay(50);
			}
		}
	}
	osMutexRelease(MutexTaskHandle);
  }
  /* USER CODE END StartTask1 */
}

void StartTask2(void *argument)
{
  /* USER CODE BEGIN StartTask2 */
  /* Infinite loop */
  for(;;)
  {
	osSemaphoreAcquire(BinarySem02Handle, osWaitForever);
	osMutexAcquire(MutexTaskHandle, osWaitForever);
	int i=0;
	for (i=0;i<2;i++)
	{
		int j=0;
		for (j=0;j<20;j++)
		{
			HAL_GPIO_TogglePin(GPIOB, LED2_Pin);
			osDelay(50);
		}
	}
	osMutexRelease(MutexTaskHandle);
  }
  /* USER CODE END StartTask2 */
}

/* DefaultTimerCallback function */
void DefaultTimerCallback(void *argument)
{
  /* USER CODE BEGIN DefaultTimerCallback */
	osSemaphoreRelease(BinarySem02Handle);
  /* USER CODE END DefaultTimerCallback */
}

/* TimerCallback function */
void TimerCallback(void *argument)
{
  /* USER CODE BEGIN TimerCallback */
//  HAL_GPIO_TogglePin(GPIOB, LED2_Pin);
//  osSemaphoreRelease(myBinarySem01Handle);
	osThreadFlagsSet(ProcessTask1Handle, 0x04);
  /* USER CODE END TimerCallback */
}

void Error_Handler(void)
{
  __disable_irq();
  while (1)
  {
  }
}
